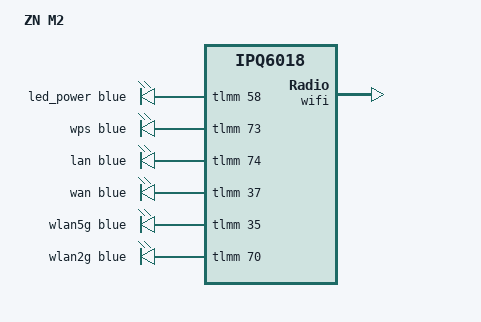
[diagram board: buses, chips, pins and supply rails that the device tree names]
// SPDX-License-Identifier: GPL-2.0-or-later OR MIT

/dts-v1/;

#include "ipq6000-cmiot.dtsi"

/ {
	model = "ZN M2";
	compatible = "zn,m2", "qcom,ipq6018";

	aliases {
		led-boot = &led_power;
		led-failsafe = &led_power;
		led-running = &led_power;
		led-upgrade = &led_power;
	};

	leds {
		compatible = "gpio-leds";

		led_power: power {
			color = <LED_COLOR_ID_BLUE>;
			function = LED_FUNCTION_POWER;
			gpios = <&tlmm 58 GPIO_ACTIVE_HIGH>;
		};

		wps {
			color = <LED_COLOR_ID_BLUE>;
			function = LED_FUNCTION_WPS;
			gpios = <&tlmm 73 GPIO_ACTIVE_HIGH>;
		};

		lan {
			color = <LED_COLOR_ID_BLUE>;
			function = LED_FUNCTION_LAN;
			gpios = <&tlmm 74 GPIO_ACTIVE_HIGH>;
		};

		wan {
			color = <LED_COLOR_ID_BLUE>;
			function = LED_FUNCTION_WAN;
			gpios = <&tlmm 37 GPIO_ACTIVE_HIGH>;
		};

		wlan5g {
			color = <LED_COLOR_ID_BLUE>;
			function = LED_FUNCTION_WLAN_5GHZ;
			gpios = <&tlmm 35 GPIO_ACTIVE_HIGH>;
		};

		wlan2g {
			color = <LED_COLOR_ID_BLUE>;
			function = LED_FUNCTION_WLAN_2GHZ;
			gpios = <&tlmm 70 GPIO_ACTIVE_HIGH>;
		};
	};
};

&wifi {
	status = "okay";
	qcom,ath11k-fw-memory-mode = <1>;
	qcom,ath11k-calibration-variant = "ZN-M2";
};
